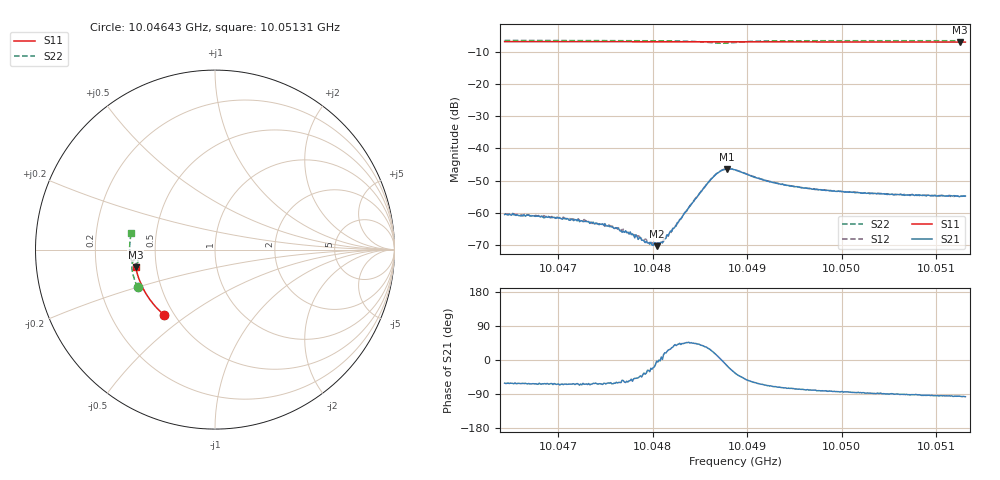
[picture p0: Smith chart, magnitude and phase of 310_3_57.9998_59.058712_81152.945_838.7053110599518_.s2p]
#  HZ  S  RI  R  50.00
! Rohde & Schwarz Vector Network Analyzer
! Rohde-Schwarz,ZNB20-2Port,1311601062101988,3.16
! Created: UTC 3/21/2024, 1:04:10 AM
! freq[Hz]  re:S11  im:S11  re:S21  im:S21  re:S12  im:S12  re:S22  im:S22
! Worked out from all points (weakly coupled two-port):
!   401 points, 10.04643 GHz to 10.05131 GHz, reference 50 ohm
!   highest |S21| = -46.36 dB at 10.04879 GHz (marker M1); lowest = -70.4 dB at 10.04804 GHz (marker M2)
!   lowest |S11| = -6.9 dB at 10.05125 GHz (marker M3), VSWR 2.65, Z = 19 - j4.71 ohm
!   |S11| at or under -10 dB: nowhere
!   |S22| runs from -7.3 to -6.4 dB; largest |S21 - S12| = 0.00034
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1.0046434e10  -0.2822 -0.3646  0.000455 -0.000822  0.000511 -0.0008  -0.4316 -0.2097
1.0046873e10  -0.304 -0.3454  0.000393 -0.000784  0.000446 -0.00076  -0.443 -0.1825
1.004725e10  -0.3219 -0.3279  0.000314 -0.000684  0.000356 -0.000655  -0.4512 -0.158
1.004747e10  -0.3315 -0.3174  0.00029 -0.000606  0.000346 -0.000577  -0.4556 -0.1433
1.0047567e10  -0.3359 -0.3123  0.000277 -0.000536  0.000348 -0.00051  -0.4572 -0.1367
1.0047738e10  -0.3431 -0.3039  0.000262 -0.000421  0.000307 -0.000387  -0.4599 -0.1246
1.0047945e10  -0.3517 -0.2932  0.000301 -0.000155  0.000303 -0.000163  -0.4624 -0.1093
1.0047969e10  -0.3528 -0.292  0.000279 -0.000166  0.000307 -0.000135  -0.4627 -0.1074
1.0048042e10  -0.3557 -0.2881  0.000302 -1.59e-05  0.000337 -3e-05  -0.4634 -0.1017
1.0048067e10  -0.3567 -0.287  0.000329 -5.17e-07  0.000335 4.91e-05  -0.4633 -0.0999
1.0048115e10  -0.3585 -0.2844  0.00035 8.94e-05  0.000371 0.000105  -0.4636 -0.0959
1.0048188e10  -0.3615 -0.2805  0.000455 0.00025  0.00041 0.000254  -0.4638 -0.0897
1.0048444e10  -0.3711 -0.2666  0.00116 0.0011  0.00108 0.0012  -0.4581 -0.066
1.0048615e10  -0.3771 -0.257  0.00296 0.00146  0.00291 0.00164  -0.4416 -0.0545
1.00487e10  -0.38 -0.2524  0.00423 0.000517  0.00425 0.000786  -0.4308 -0.0596
1.0048785e10  -0.3828 -0.2478  0.00465 -0.00123  0.00475 -0.000987  -0.4302 -0.0717
1.0048871e10  -0.3857 -0.2432  0.00385 -0.00263  0.00402 -0.00238  -0.4406 -0.0782
1.0049285e10  -0.3992 -0.2194  0.000984 -0.00275  0.00117 -0.00274  -0.4699 -0.0487
1.0049687e10  -0.4107 -0.1956  0.000424 -0.00229  0.000559 -0.00232  -0.4749 -0.0172
1.0050503e10  -0.4298 -0.1455  4.05e-06 -0.00193  0.000136 -0.00196  -0.4741 0.04
1.0051246e10  -0.4418 -0.0983  -0.000169 -0.00177  -9.65e-05 -0.00182  -0.4671 0.0893
1.0051307e10  -0.4426 -0.0944  -0.000218 -0.00181  -0.0001 -0.0018  -0.4661 0.0931
